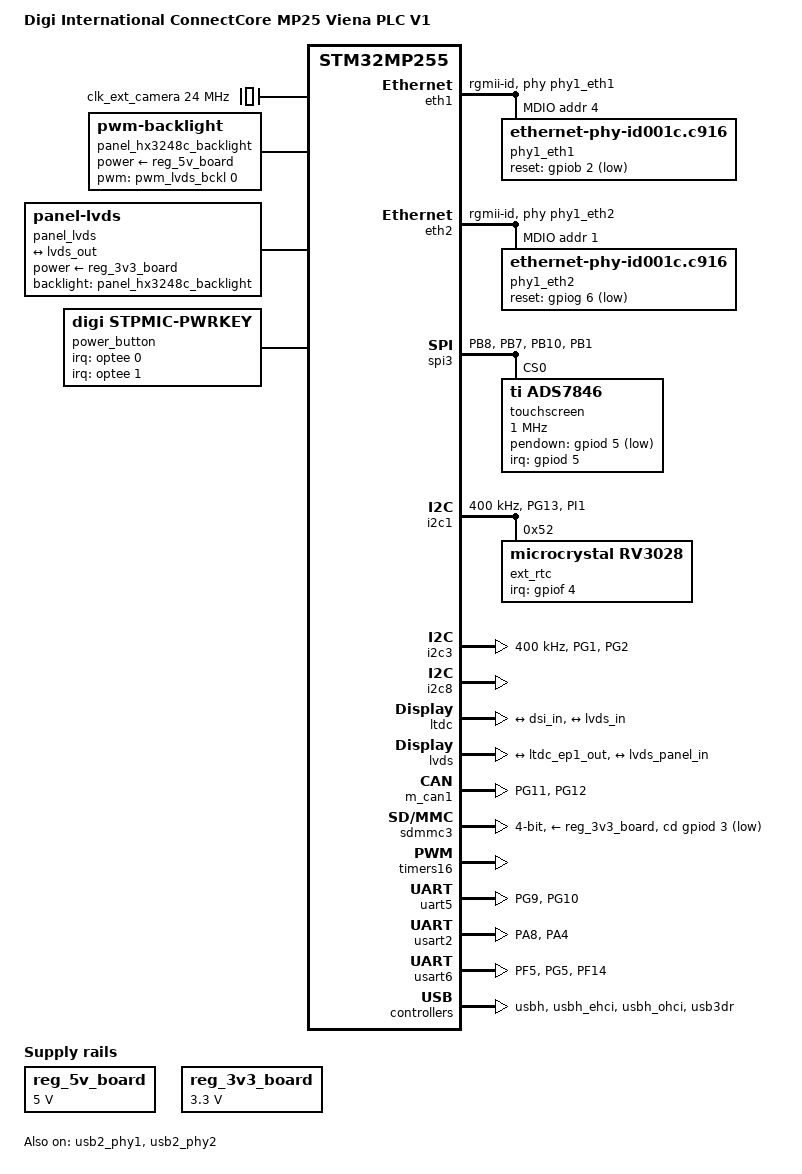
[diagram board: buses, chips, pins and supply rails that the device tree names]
// SPDX-License-Identifier: (GPL-2.0-or-later OR BSD-3-Clause)
/*
 * Copyright (C) 2024,2025, Digi International Inc.
 *
 * Permission to use, copy, modify, and/or distribute this software for any
 * purpose with or without fee is hereby granted, provided that the above
 * copyright notice and this permission notice appear in all copies.
 * THE SOFTWARE IS PROVIDED "AS IS" AND THE AUTHOR DISCLAIMS ALL WARRANTIES
 * WITH REGARD TO THIS SOFTWARE INCLUDING ALL IMPLIED WARRANTIES OF
 * MERCHANTABILITY AND FITNESS. IN NO EVENT SHALL THE AUTHOR BE LIABLE FOR
 * ANY SPECIAL, DIRECT, INDIRECT, OR CONSEQUENTIAL DAMAGES OR ANY DAMAGES
 * WHATSOEVER RESULTING FROM LOSS OF USE, DATA OR PROFITS, WHETHER IN AN
 * ACTION OF CONTRACT, NEGLIGENCE OR OTHER TORTIOUS ACTION, ARISING OUT OF
 * OR IN CONNECTION WITH THE USE OR PERFORMANCE OF THIS SOFTWARE.
 */

/dts-v1/;

/* Digi ConnectCore MP25 (SOM) */
#include "ccmp25.dtsi"

#include <dt-bindings/gpio/gpio.h>
#include <dt-bindings/input/input.h>
#include <dt-bindings/leds/common.h>
#include <dt-bindings/regulator/st,stm32mp25-regulator.h>
#include "dt-bindings/pwm/pwm.h"

/ {
	model = "Digi International ConnectCore MP25 Viena PLC V1";
	compatible = "digi,ccmp25-dvk", "digi,ccmp25", "digi,ccmp2", "st,stm32mp255";
	digi,machine,name = "ccmp255-dvk";

	system-info {
    	compatible = "Viena,system-info";
		product-id = "Viena-CCMP25";
    	pcb-revision = "Rev 1.0";
    	firmware-version = "DEY5.0r3-20251226-pt-fixporch-h20v3-active1110";
	};

	aliases {
		ethernet0 = &eth1;
		ethernet1 = &eth2;
		serial2 = &uart5; /* Console M33 */
		serial3 = &usart6; /* COMM */
	};

	chosen {
		stdout-path = "serial0:115200n8";
		#address-cells = <2>;
		#size-cells = <2>;
		ranges;

		framebuffer {
			compatible = "simple-framebuffer";
			clocks = <&rcc CK_BUS_LTDC>, <&rcc CK_KER_LTDC>,
				 <&rcc CK_BUS_LVDS>, <&rcc CK_KER_LVDSPHY>;
			status = "disabled";
		};
	};

	clocks {
		cec_clock: cec-clock {
			compatible = "fixed-clock";
			#clock-cells = <0>;
			clock-frequency = <12000000>;
		};

		clk_ext_camera: clk-ext-camera {
			#clock-cells = <0>;
			compatible = "fixed-clock";
			clock-frequency = <24000000>;
		};

		pad_clk: pad-clk {
			#clock-cells = <0>;
			compatible = "fixed-clock";
			clock-frequency = <100000000>;
		};
	};

	hdmi-connector {
		compatible = "hdmi-connector";
		label = "hdmi";
		type = "a";
		hdmi-pwr-supply = <&reg_5v_board>;
		lv-pwr-supply = <&scmi_ldo7>; /* 1V8_HDMI */
		hpd-gpios = <&gpiod 2 GPIO_ACTIVE_HIGH>;
		status = "disabled";

		port {
			hdmi_connector_in: endpoint {
				remote-endpoint = <&lt8912_out>;
			};
		};
	};

	panel_hx3248c_backlight: panel-lvds-pwm-backlight {
		compatible = "pwm-backlight";
		/* node TIM16_CH1 period (ns) */
		pwms = <&pwm_lvds_bckl 0 1000000 PWM_POLARITY_INVERTED>;
		/* enable-gpios = <&gpiof 11 GPIO_ACTIVE_HIGH>; */
		brightness-levels = <0 16 22 30 40 55 75 102 138 188 255>;
		default-brightness-level = <7>;
		power-supply = <&reg_5v_board>;
	/*	power-on-delay-ms = <20>; */
    /*    power-off-delay-ms = <50>; */
		status = "okay";
	};

	panel_lvds: panel-lvds {
		compatible = "panel-lvds";
		power-supply = <&reg_3v3_board>;
		/*backlight = <&panel_lvds_gpio_backlight>;*/
		backlight = <&panel_hx3248c_backlight>;
		status = "okay";

		width-mm = <235>;
		height-mm = <143>;
		data-mapping = "vesa-24";

		panel-timing {
			clock-frequency = <51200000>;
			hactive = <1024>;
        	vactive = <600>;
	        hfront-porch = <160>;
    	    hback-porch = <160>;
        	hsync-len = <20>;
	        vfront-porch = <12>;
    	    vback-porch = <23>;
        	vsync-len = <3>;
			hsync-active = <1>;
			vsync-active = <1>;
			de-active = <1>;
			pixelclk-active = <0>;
		};

		port {
			lvds_panel_in: endpoint {
				remote-endpoint = <&lvds_out>;
			};
		};
	};



	power_button {
		compatible = "digi,stpmic-pwrkey";
		interrupts-extended = <&optee 0>, <&optee 1>;
		interrupt-names = "stpmic_pwrkey_fall", "stpmic_pwrkey_rise";
		status = "okay";
	};


	regulators {
		compatible = "simple-bus";
		#address-cells = <1>;
		#size-cells = <0>;

		reg_5v_board: regulator-board@1 {
			compatible = "regulator-fixed";
			reg = <1>;
			regulator-name = "5v_board";
			regulator-min-microvolt = <5000000>;
			regulator-max-microvolt = <5000000>;
			/* regulator-enable-ramp-delay = <8000>; */
			/* gpio = <&gpiog 7 GPIO_ACTIVE_HIGH>; 5V_BOARD_EN */
			/* enable-active-high; */
			regulator-always-on;
			status = "okay";
		};

		// 3.3V由LDO提供，同样不需要GPIO控制使能
		reg_3v3_board: regulator-board@2 {
			compatible = "regulator-fixed";
			reg = <2>;
			regulator-name = "3v3_board";
			regulator-min-microvolt = <3300000>;
			regulator-max-microvolt = <3300000>;
			regulator-always-on;
			status = "okay";
		};
	};

	digital-io {
    	status = "okay";
    	pinctrl-names = "default", "sleep";
    	pinctrl-0 = <&ccmp25_gpio_pins &ccmp25_gpio_z_pins>;
    	pinctrl-1 = <&ccmp25_gpio_sleep_pins &ccmp25_gpio_z_sleep_pins>;
	};

};

&eth1 {

	status = "okay";
	pinctrl-0 = <&eth1_rgmii_pins_a &eth1_mdio_pins_a>;
	pinctrl-1 = <&eth1_rgmii_sleep_pins_a &eth1_mdio_sleep_pins_a>;
	pinctrl-names = "default", "sleep";
	phy-mode = "rgmii-id";
	max-speed = <1000>;
	phy-handle = <&phy1_eth1>;
	st,eth-clk-sel;
	snps,ext-systime;

	mdio1 {
		#address-cells = <1>;
		#size-cells = <0>;
		compatible = "snps,dwmac-mdio";
		phy1_eth1: ethernet-phy@4 {
			compatible = "ethernet-phy-id001c.c916";
			reset-gpios =  <&gpiob 2 GPIO_ACTIVE_LOW>;
			reset-assert-us = <10000>;
			reset-deassert-us = <80000>;
			realtek,eee-disable;
			reg = <4>;
		};
	};
};

&eth2 {

	status = "okay";
	pinctrl-0 = <&eth2_rgmii_pins_a>;
	pinctrl-1 = <&eth2_rgmii_sleep_pins_a>;
	pinctrl-names = "default", "sleep";
	phy-mode = "rgmii-id";
	max-speed = <1000>;
	phy-handle = <&phy1_eth2>;
	st,eth-ptp-from-rcc;

	mdio1 {
		#address-cells = <1>;
		#size-cells = <0>;
		compatible = "snps,dwmac-mdio";
		phy1_eth2: ethernet-phy@1 {
			compatible = "ethernet-phy-id001c.c916";
			reset-gpios =  <&gpiog 6 GPIO_ACTIVE_LOW>;
			reset-assert-us = <10000>;
			reset-deassert-us = <80000>;
			realtek,eee-disable;
			reg = <1>;
		};
	};

};

&dsi {
	vdd-supply =  <&scmi_vddcore>;
	vdda18-supply = <&scmi_v1v8>;
	status = "disabled";

	ports {
		#address-cells = <1>;
		#size-cells = <0>;

		port@0 {
			reg = <0>;
			dsi_in: endpoint {
				remote-endpoint = <&ltdc_ep0_out>;
			};
		};

		port@1 {
			reg = <1>;
			dsi_out: endpoint {
				remote-endpoint = <&lt8912_1_in>;
			};
		};
	};
};

&spi3 {
    pinctrl-names = "default", "sleep";
    pinctrl-0 = <&ccmp25_spi3_pins>;      /* 根据实际引脚命名调整 */
    pinctrl-1 = <&ccmp25_spi3_sleep_pins>;
    status = "okay";
    
    /delete-property/dmas;
    /delete-property/dma-names;
    
    touchscreen@0 {
        compatible = "ti,ads7846";       /* ET2046兼容ads7846 */
        reg = <0>;                        /* SPI片选0 */
        spi-max-frequency = <1000000>;    /* 1MHz SPI时钟 */
        
        /* 中断配置 */
        interrupt-parent = <&gpiod>;
        interrupts = <5 IRQ_TYPE_EDGE_FALLING>;
		pendown-gpio = <&gpiod 5 GPIO_ACTIVE_LOW>;    
        
        status = "okay";
    };
};

/* Peripheral I2C bus (J18 Connector) */
&i2c1 {
	pinctrl-names = "default", "sleep";
	pinctrl-0 = <&ccmp25_i2c1_pins>;
	pinctrl-1 = <&ccmp25_i2c1_sleep_pins>;
	i2c-scl-rising-time-ns = <185>;
	i2c-scl-falling-time-ns = <20>;
	clock-frequency = <400000>;
	status = "okay";
	/* spare dmas for other usage */
	/delete-property/dmas;
	/delete-property/dma-names;


	ext_rtc: ext_rtc@52 {
		compatible = "microcrystal,rv3028";
		reg = <0x52>;
		interrupt-parent = <&gpiof>;
		interrupts = <4 IRQ_TYPE_EDGE_FALLING>; /* RTC_INT_N */
		wakeup-source;
	};
};

&i2c3 {
	pinctrl-names = "default", "sleep";
	pinctrl-0 = <&ccmp25_i2c3_pins>;
    pinctrl-1 = <&ccmp25_i2c3_sleep_pins>;
	i2c-scl-rising-time-ns = <185>;
	i2c-scl-falling-time-ns = <20>;
	clock-frequency = <400000>;
	status = "okay";
	/* spare dmas for other usage */
	/delete-property/dmas;
	/delete-property/dma-names;

	lt_bridge: lt8912@48 {
		compatible = "lontium,lt8912b";
		reg = <0x48>;
		reset-gpios = <&gpiod 4 GPIO_ACTIVE_LOW>;
		vdd-supply = <&scmi_ldo7>; /* 1V8_HDMI */
		status = "disabled";

		ports {
			#address-cells = <1>;
			#size-cells = <0>;

			port@0 {
				reg = <0>;
				lt8912_1_in: endpoint {
					data-lanes = <1 2 3 4>;
					remote-endpoint = <&dsi_out>;
				};
			};

			port@1 {
				reg = <1>;
				lt8912_out: endpoint {
					remote-endpoint = <&hdmi_connector_in>;
				};
			};
		};

		display-timings {
			native-mode = <&timing0>;

			/* High Definition */
			timing0: timing0 {
				clock-frequency = <74250000>;
				hactive = <1280>;
				vactive = <720>;
				hfront-porch = <110>;
				hsync-len = <40>;
				hback-porch = <220>;
				vfront-porch = <5>;
				vsync-len = <5>;
				vback-porch = <20>;
				hsync-active = <0>;
				vsync-active = <0>;
				de-active = <0>;
				pixelclk-active = <0>;
			};

			/* Full HD */
			timing1: timing1 {
				clock-frequency = <148500000>;
				hactive = <1920>;
				vactive = <1080>;
				hfront-porch = <88>;
				hsync-len = <44>;
				hback-porch = <148>;
				vfront-porch = <4>;
				vsync-len = <5>;
				vback-porch = <36>;
				hsync-active = <0>;
				vsync-active = <0>;
				de-active = <0>;
				pixelclk-active = <0>;
			};
		};
	};

};

&i2c8 {
    pinctrl-names = "default", "sleep";
    pinctrl-0 = <&ccmp25_i2c8_z_pins>;
    pinctrl-1 = <&ccmp25_i2c8_z_sleep_pins>;
    status = "okay";

    /* USER CODE BEGIN i2c8 */
    /delete-property/dmas;
    /delete-property/dma-names;

    //clock-frequency = <400000>;
    //i2c-scl-rising-time-ns = <185>;
    //i2c-scl-falling-time-ns = <20>;
};

&ltdc {
	/* rotation-memory = <&ltdc_sec_rotation>; */
	status = "okay";

	port {
		#address-cells = <1>;
		#size-cells = <0>;

		ltdc_ep0_out: endpoint@0 {
			reg = <0>;
			remote-endpoint = <&dsi_in>;
		};

		ltdc_ep1_out: endpoint@1 {
			reg = <1>;
			remote-endpoint = <&lvds_in>;
		};
	};
};


&lvds {
	vdd-supply =  <&scmi_vddcore>;
	vdda18-supply = <&scmi_v1v8>;
	status = "okay";

	ports {
		#address-cells = <1>;
		#size-cells = <0>;

		port@0 {
			reg = <0>;
			lvds_in: endpoint {
				remote-endpoint = <&ltdc_ep1_out>;
			};
		};

		port@1 {
			reg = <1>;
			lvds_out: endpoint {
				remote-endpoint = <&lvds_panel_in>;
			};
		};
	};
};

/* FDCAN1 */
&m_can1 {
	pinctrl-names = "default", "sleep";
	pinctrl-0 = <&ccmp25_can1_pins>;
    pinctrl-1 = <&ccmp25_can1_sleep_pins>;
	status = "okay";
};



/* Micro SD */
&sdmmc3 {
	pinctrl-names = "default", "opendrain", "sleep";
	pinctrl-0 = <&sdmmc3_b4_pins_a>;
	pinctrl-1 = <&sdmmc3_b4_od_pins_a>;
	pinctrl-2 = <&sdmmc3_b4_sleep_pins_a>;
	cd-gpios = <&gpiod 3 GPIO_ACTIVE_LOW>;
	disable-wp;
	st,neg-edge;
	no-1-8-v;
	bus-width = <4>;
	vmmc-supply = <&reg_3v3_board>; /* card's VDD pin */
	vqmmc-supply = <&scmi_vddio3>;
	status = "okay";
};

&timers16 {
    status = "okay";

    /* USER CODE BEGIN timers16 */
    /delete-property/dmas;
    /delete-property/dma-names;
    /* USER CODE END timers16 */

    /* Set the desired PWM name */
    pwm_lvds_bckl: pwm {
        pinctrl-names = "default", "sleep";
        pinctrl-0 = <&ccmp25_timers16_ch1_pwm_pins>;
        pinctrl-1 = <&ccmp25_timers16_ch1_pwm_sleep_pins>;
        status = "okay";
    };

    /*
     * Uncomment to enable timer trigger on STANDARD TIMER.
     *
     * Set <TRIGGER_INDEX> to (timer_index - 1)
     */
    timer@15 {
        status = "okay";
    };

    /*
     * Uncomment to enable timer trigger on LPTIMER only.
     *
     * Set <TRIGGER_INDEX> to (lptimer_index - 1)
     */
    //trigger@<TRIGGER_INDEX> {
    //    status = "okay";
    //};
};

&uart5 {
	pinctrl-names = "default", "sleep";
	pinctrl-0 = <&ccmp25_uart5_pins>;
	pinctrl-1 = <&ccmp25_uart5_sleep_pins>;
	status = "okay";

	/* USER CODE BEGIN uart5 */
	/delete-property/dmas;
	/delete-property/dma-names;
	/* USER CODE END uart5 */
};

/* Console A35 */
&usart2 {
	pinctrl-names = "default", "sleep";
	pinctrl-0 = <&ccmp25_usart2_pins>;
	pinctrl-1 = <&ccmp25_usart2_sleep_pins>;
	/delete-property/dmas;
	/delete-property/dma-names;
	status = "okay";
};

&usart6 {
    pinctrl-names = "default", "sleep";
    pinctrl-0 = <&ccmp25_usart6_board_pins>;
    pinctrl-1 = <&ccmp25_usart6_board_sleep_pins>;
    status = "okay";

    /* USER CODE BEGIN usart6 */
    /delete-property/dmas;
    /delete-property/dma-names;
    //linux,rs485-enabled-at-boot-time; // Set when using RS485.
    uart-has-rtscts;
    /* USER CODE END usart6 */
};

/* USB 2.0 Host */
&usb2_phy1 {
	vdd33-supply = <&scmi_vdd3v3_usb>;
	status = "okay";
};


&usbh {
	status = "okay";
};

&usbh_ehci {
	status = "okay";
};

&usbh_ohci {
    status = "okay";
};

/* USB 2.0/3.0 Host/Device */
&usb2_phy2 {
	vdd33-supply = <&scmi_vdd3v3_usb>;
	status = "okay";
};

&usb3dr {
	status = "okay";

	dwc3: usb@48300000 {
		maximum-speed = "high-speed";
		usb-role-switch;
		role-switch-default-mode = "peripheral";
	};
};


&pinctrl {
	ccmp25_can1_pins: ccmp25-can1 {
		pins1 {
			pinmux = <STM32_PINMUX('G', 11,  AF7)>; /* FDCAN1_TX */
			drive-push-pull;
			bias-disable;
			slew-rate = <1>;
		};
		pins2 {
			pinmux = <STM32_PINMUX('G', 12,  AF7)>; /* FDCAN1_RX */
			bias-disable;
		};
	};

	ccmp25_can1_sleep_pins: ccmp25-can1-sleep {
		pins {
			pinmux = <STM32_PINMUX('G', 11, ANALOG)>, /* FDCAN1_TX */
					 <STM32_PINMUX('G', 12, ANALOG)>; /* FDCAN1_RX */
		};
	};

	

	ccmp25_gpio_pins: ccmp25-gpio {
		pins1 {
			pinmux = <STM32_PINMUX('D',  5, GPIO)>, /* PD5_GPIO */
					 <STM32_PINMUX('D',  4, GPIO)>, /* PD4_GPIO */
					 <STM32_PINMUX('I',  9, GPIO)>, /* PI9_GPIO */
					 <STM32_PINMUX('B',  3, GPIO)>, /* PB3_GPIO */
					 <STM32_PINMUX('A', 12, GPIO)>, /* PA12_GPIO */
					 <STM32_PINMUX('I',  8, GPIO)>, /* PI8/LPO32_GPIO */
					 <STM32_PINMUX('G',  4, GPIO)>; /* PG4_GPIO */
			bias-disable;
			slew-rate = <0>;
		};
		pins2 {
			pinmux = <STM32_PINMUX('F',  11, GPIO)>,  /* PF11_GPIO */
					 <STM32_PINMUX('G',  7, GPIO)>; /* PG7_GPIO */
			drive-push-pull;
			bias-disable;
			slew-rate = <0>;
		};
		pins3 {
            pinmux = <STM32_PINMUX('F', 10, ANALOG)>, /* DI13_GPIO */
					 <STM32_PINMUX('B',  15, ANALOG)>,  /* PB15_GPIO_DIN */ 					 
					 <STM32_PINMUX('G',  3, GPIO)>, /* LED_WARNING_GPIO */					 
					 <STM32_PINMUX('G',  5, GPIO)>,  /* PG5_GPIO */
					 <STM32_PINMUX('G',  8, ANALOG)>,  /* PG8_GPIO_DIN */
					 <STM32_PINMUX('F',  10, GPIO)>,  /* PF10_GPIO_DIN */
					 <STM32_PINMUX('F',  13, GPIO)>,  /* PF13_GPIO */
					 <STM32_PINMUX('F',  3, GPIO)>,  /* PF3_GPIO */
					 <STM32_PINMUX('D',  6, GPIO)>,  /* PD6_GPIO */
					 <STM32_PINMUX('F',  4, GPIO)>,  /* PF4_GPIO */
					 <STM32_PINMUX('H',  2, ANALOG)>,  /* PH2_GPIO  related to TIM16 */ 
					 <STM32_PINMUX('H',  6, ANALOG)>,  /* PH2_GPIO  related to TIM16 */ 
					 <STM32_PINMUX('H',  3, ANALOG)>,  /* PH3_GPIO_DIN */					 					 
					 <STM32_PINMUX('H',  4, GPIO)>,  /* PH4_GPIO */ 					 
					 <STM32_PINMUX('H',  5, ANALOG)>,  /* PH5_GPIO_DIN */
					 <STM32_PINMUX('F',  15, ANALOG)>,  /* PF15_GPIO_DIN */  
					 <STM32_PINMUX('I',  10, ANALOG)>,  /* PI10_GPIO_DIN */ 
					 <STM32_PINMUX('A',  1, ANALOG)>,  /* PA1_GPIO_DIN */ 
					 <STM32_PINMUX('A',  7, ANALOG)>,  /* PA7_GPIO_DIN */
					 <STM32_PINMUX('F',  12, ANALOG)>,  /* PF12_GPIO_DIN */
					 <STM32_PINMUX('I',  2, GPIO)>,  /* PI2_GPIO */ 
					 <STM32_PINMUX('I',  3, GPIO)>,  /* PI3_GPIO */
					 <STM32_PINMUX('I',  6, ANALOG)>;  /* PI6_GPIO_DIN */					    
            bias-disable;
        };
	};

	ccmp25_gpio_sleep_pins: ccmp25-gpio-sleep {
		pins {
			pinmux = <STM32_PINMUX('F', 10, ANALOG)>, /* PF10_GPIO */
					 <STM32_PINMUX('G',  7, ANALOG)>, /* PG7_GPIO */
					 <STM32_PINMUX('I',  0, ANALOG)>, /* SAI4_MCLK_B_GPIO */
					 <STM32_PINMUX('G',  3, ANALOG)>, /* PG3_GPIO */
					 <STM32_PINMUX('G',  8, ANALOG)>,  /* PG8_GPIO_DIN */
					 <STM32_PINMUX('D',  5, ANALOG)>, /* PD5_GPIO */
					 <STM32_PINMUX('D',  4, ANALOG)>, /* PD4_GPIO */
					 <STM32_PINMUX('I',  9, ANALOG)>, /* PI9_GPIO */
					 <STM32_PINMUX('B',  3, ANALOG)>, /* PB3_GPIO */
					 <STM32_PINMUX('A',  7, ANALOG)>,  /* PA7_GPIO_DIN */
					 <STM32_PINMUX('A', 12, ANALOG)>, /* PA12_GPIO */
					 <STM32_PINMUX('G',  4, ANALOG)>, /* PG4_GPIO */
					 <STM32_PINMUX('G',  5, ANALOG)>,  /* PG5_GPIO */
					 <STM32_PINMUX('F',  11, ANALOG)>,  /* PF11_GPIO */
					 <STM32_PINMUX('F',  13, ANALOG)>,  /* PF13_GPIO */
					 <STM32_PINMUX('F',  3, ANALOG)>,  /* PF3_GPIO */
					 <STM32_PINMUX('D',  6, ANALOG)>,  /* PD6_GPIO */
					 <STM32_PINMUX('F',  4, ANALOG)>,  /* PF4_GPIO */
					 <STM32_PINMUX('I',  4, ANALOG)>,  /* PGI4_GPIO */ 
					 <STM32_PINMUX('H',  2, ANALOG)>,  /* PH2_GPIO  related to TIM16 */ 
					 <STM32_PINMUX('H',  6, ANALOG)>,  /* PH2_GPIO  related to TIM16 */ 					 
					 <STM32_PINMUX('H',  5, ANALOG)>,  /* PH5_GPIO */
					 <STM32_PINMUX('F',  15, ANALOG)>,  /* PF15_GPIO */  
					 <STM32_PINMUX('I',  10, ANALOG)>,  /* PI10_GPIO */ 
					 <STM32_PINMUX('A',  1, ANALOG)>,  /* PA1_GPIO */ 
					 <STM32_PINMUX('F',  12, ANALOG)>,  /* PF12_GPIO */
					 <STM32_PINMUX('H',  4, ANALOG)>,  /* PH4_GPIO */ 
					 <STM32_PINMUX('I',  2, ANALOG)>,  /* PI2_GPIO */ 
					 <STM32_PINMUX('I',  3, ANALOG)>;  /* PI3_GPIO */ 
		};
	};

    ccmp25_timers1ch1_2_pwm_pins: ccmp25-timers1ch1_2-pwm {
        pins {
            pinmux = <STM32_PINMUX('D', 7, GPIO)>,  /* TIM1_CH1 */
                     <STM32_PINMUX('D', 10, GPIO)>; /* TIM1_CH2 */
            drive-push-pull;
            bias-disable;
            slew-rate = <1>;  // high speed 
        };
    };

    ccmp25_timers1ch1_2_pwm_sleep_pins: ccmp25-timers1ch1_2-pwm-sleep {
        pins {
			pinmux = <STM32_PINMUX('D', 7, ANALOG)>, /* TIM1_CH1_PWM */
                     <STM32_PINMUX('D', 10, ANALOG)>;  /* TIM1_CH2_PWM */
        };
    };

	ccmp25_i2c1_pins: ccmp25-i2c1 {
		pins {
			pinmux = <STM32_PINMUX('G', 13,  AF9)>, /* I2C1_SCL */
					 <STM32_PINMUX('I',  1,  AF9)>; /* I2C1_SDA */
			drive-open-drain;
			bias-disable;
			slew-rate = <0>;
		};
	};

	ccmp25_i2c1_sleep_pins: ccmp25-i2c1-sleep {
		pins {
			pinmux = <STM32_PINMUX('G', 13, ANALOG)>, /* I2C1_SCL */
					 <STM32_PINMUX('I',  1, ANALOG)>; /* I2C1_SDA */
		};
	};

	ccmp25_i2c3_pins: ccmp25-i2c3 {
		pins {
			pinmux = <STM32_PINMUX('G',  1,  AF9)>, /* I2C3_SCL */
					 <STM32_PINMUX('G',  2,  AF9)>; /* I2C3_SDA */
			drive-open-drain;
			bias-disable;
			slew-rate = <0>;
		};
	};

	ccmp25_i2c3_sleep_pins: ccmp25-i2c3-sleep {
		pins {
			pinmux = <STM32_PINMUX('G',  1, ANALOG)>, /* I2C3_SCL */
					 <STM32_PINMUX('G',  2, ANALOG)>; /* I2C3_SDA */
		};
	};


	ccmp25_spi3_pins: ccmp25-spi3 {
		pins1 {
			pinmux = <STM32_PINMUX('B',  8,  AF1)>, /* SPI3_MOSI */
					 <STM32_PINMUX('B',  7,  AF3)>; /* SPI3_SCK */
			drive-push-pull;
			bias-disable;
			slew-rate = <1>;
		};
		pins2 {
			pinmux = <STM32_PINMUX('B', 10,  AF3)>, /* SPI3_MISO */
					 <STM32_PINMUX('B',  1,  AF3)>; /* SPI3_NSS */
			drive-push-pull;
			bias-disable;
			slew-rate = <0>;
		};
	};

	ccmp25_spi3_sleep_pins: ccmp25-spi3-sleep {
		pins {
			pinmux = <STM32_PINMUX('B',  8, ANALOG)>, /* SPI3_MOSI */
					 <STM32_PINMUX('B', 10, ANALOG)>, /* SPI3_MISO */
					 <STM32_PINMUX('B',  7, ANALOG)>, /* SPI3_SCK */
					 <STM32_PINMUX('B',  1, ANALOG)>; /* SPI3_NSS */
		};
	};

	ccmp25_uart5_pins: ccmp25-uart5 {
		pins1 {
			pinmux = <STM32_PINMUX('G',  9,  AF5)>; /* UART5_TX */
			drive-push-pull;
			bias-disable;
			slew-rate = <0>;
		};
		pins2 {
			pinmux = <STM32_PINMUX('G', 10,  AF5)>; /* UART5_RX */
			bias-disable;
		};
	};

	ccmp25_uart5_sleep_pins: ccmp25-uart5-sleep {
		pins {
			pinmux = <STM32_PINMUX('G',  9, ANALOG)>, /* UART5_TX */
					 <STM32_PINMUX('G', 10, ANALOG)>; /* UART5_RX */
		};
	};


	ccmp25_usart2_pins: ccmp25-usart2 {
		pins1 {
			pinmux = <STM32_PINMUX('A',  8,  AF8)>; /* USART2_RX */
			bias-disable;
		};
		pins2 {
			pinmux = <STM32_PINMUX('A',  4,  AF6)>; /* USART2_TX */
			drive-push-pull;
			bias-disable;
			slew-rate = <0>;
		};
	};

	ccmp25_usart2_sleep_pins: ccmp25-usart-sleep-2 {
		pins {
			pinmux = <STM32_PINMUX('A',  8, ANALOG)>, /* USART2_RX */
					 <STM32_PINMUX('A',  4, ANALOG)>; /* USART2_TX */
		};
	};

    ccmp25_usart6_board_pins: ccmp25-usart6 {
        pins1 {
            pinmux = <STM32_PINMUX('F',  5,  AF3)>, /* USART6_TX */
                     <STM32_PINMUX('G',  5,  AF3)>; /* USART6_DE */
            drive-push-pull;
            bias-disable;
            slew-rate = <0>;
        };
        pins2 {
            pinmux = <STM32_PINMUX('F', 14,  AF3)>; /* USART6_RX */
            bias-disable;
        };
    };

    ccmp25_usart6_board_sleep_pins: ccmp25-usart-sleep-6 {
        pins {
            pinmux = <STM32_PINMUX('F',  5, ANALOG)>, /* USART6_TX */
                     <STM32_PINMUX('F', 14, ANALOG)>, /* USART6_RX */
                     <STM32_PINMUX('G',  5, ANALOG)>; /* USART6_DE */
        };
    };

    ccmp25_can1_pins: ccmp25-can1 {
        pins1 {
            pinmux = <STM32_PINMUX('G', 11,  AF7)>; /* FDCAN1_TX */
            drive-push-pull;
            bias-disable;
            slew-rate = <1>;
        };
        pins2 {
            pinmux = <STM32_PINMUX('G', 12,  AF7)>; /* FDCAN1_RX */
            bias-disable;
        };
    };
    
    ccmp25_can1_sleep_pins: ccmp25-can1-sleep {
        pins {
            pinmux = <STM32_PINMUX('G', 11, ANALOG)>, /* FDCAN1_TX */
                     <STM32_PINMUX('G', 12, ANALOG)>; /* FDCAN1_RX */
        };
    };

    ccmp25_timers16_ch1_pwm_pins: ccmp25-timers16-ch1-pwm {
        pins {
            pinmux = <STM32_PINMUX('B',  0,  AF8)>; /* TIM16_CH1_PWM */
            drive-push-pull;
            bias-disable;
            slew-rate = <0>;
        };
    };

    ccmp25_timers16_ch1_pwm_sleep_pins: ccmp25-timers16-ch1-pwm-sleep {
        pins {
            pinmux = <STM32_PINMUX('B',  0, ANALOG)>; /* TIM16_CH1_PWM */
        };
    };

};

&pinctrl_z {
	ccmp25_gpio_z_pins: ccmp25-gpio {
		pins1 {
			pinmux = <STM32_PINMUX('Z',  7, ANALOG)>, /* PZ7_GPIO_DIN */
					 <STM32_PINMUX('Z',  8, ANALOG)>, /* PZ8_GPIO_DIN */
					 <STM32_PINMUX('Z',  1, ANALOG)>, /* PZ1_GPIO */
					 <STM32_PINMUX('Z',  0, ANALOG)>, /* PZ0_GPIO_DIN */
					 <STM32_PINMUX('Z',  3, ANALOG)>; /* PZ3_GPIO */
			bias-disable;
			slew-rate = <0>;
		};
	};

	ccmp25_gpio_z_sleep_pins: ccmp25-gpio-sleep {
		pins {
			pinmux = <STM32_PINMUX('Z',  7, ANALOG)>, /* 3V3_RF_EN/PZ6_GPIO */
					 <STM32_PINMUX('Z',  8, ANALOG)>, /* PZ8_GPIO */
					 <STM32_PINMUX('Z',  1, ANALOG)>, /* PZ1_GPIO */
					 <STM32_PINMUX('Z',  0, ANALOG)>, /* PZ0_GPIO */
					 <STM32_PINMUX('Z',  3, ANALOG)>; /* PZ3_GPIO */
		};
	};

    ccmp25_i2c8_z_pins: ccmp25-i2c8 {
        pins {
            pinmux = <STM32_PINMUX('Z',  2,  AF8)>, /* I2C8_SCL */
                     <STM32_PINMUX('Z',  9,  AF8)>; /* I2C8_SDA */
            drive-open-drain;
            bias-disable;
            slew-rate = <0>;
        };
    };

    ccmp25_i2c8_z_sleep_pins: ccmp25-i2c8-sleep {
        pins {
            pinmux = <STM32_PINMUX('Z',  2, ANALOG)>, /* I2C8_SCL */
                     <STM32_PINMUX('Z',  9, ANALOG)>; /* I2C8_SDA */
        };
    };

};
